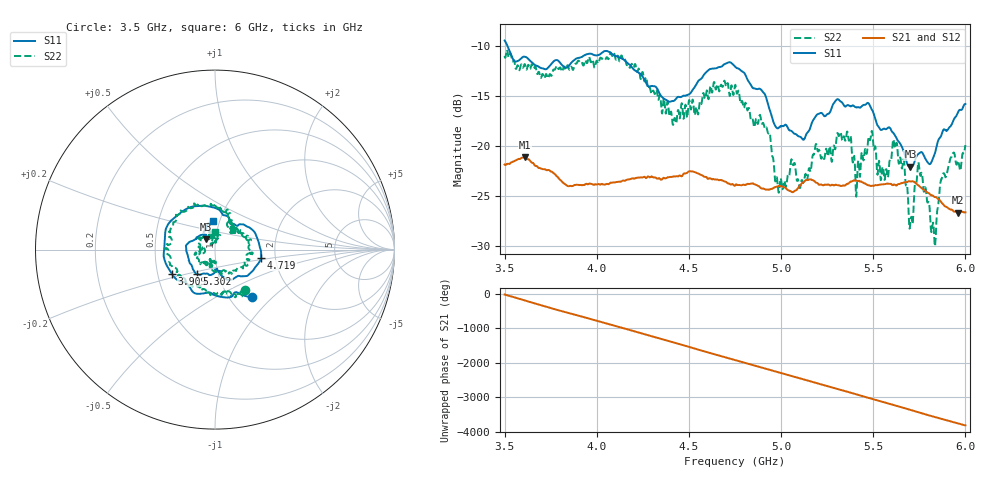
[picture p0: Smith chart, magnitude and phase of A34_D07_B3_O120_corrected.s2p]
! Created with skrf 1.9.0 (http://scikit-rf.org).
# Hz S RI R 50.0
!freq ReS11 ImS11 ReS21 ImS21 ReS12 ImS12 ReS22 ImS22
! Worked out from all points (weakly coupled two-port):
!   1601 points, 3.5 GHz to 6 GHz, reference 50 ohm
!   highest |S21| = -21.17 dB at 3.609 GHz (marker M1); lowest = -26.7 dB at 5.959 GHz (marker M2)
!   lowest |S11| = -22.1 dB at 5.702 GHz (marker M3), VSWR 1.17, Z = 44.7 + j5.26 ohm
!   |S11| at or under -10 dB: 3.515 GHz to end of sweep
!   |S22| runs from -30.0 to -10.4 dB; largest |S21 - S12| = 0.001
!   S11 on the Smith chart (normalised r, x): 3.5 GHz: 1.27, -0.76; 3.909 GHz: 0.59, -0.17; 4.719 GHz: 1.68, -0.16; 5.302 GHz: 0.79, -0.22; 6 GHz: 0.93, +0.31
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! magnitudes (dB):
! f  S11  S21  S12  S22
! 3.5 GHz  -9.5  -21.9  -21.9  -11.0
! 3.609 GHz  -11.1  -21.2  -21.2  -11.9
! 3.909 GHz  -11.2  -23.9  -23.9  -11.6
! 3.917 GHz  -11.2  -24.0  -23.9  -11.6
! 4.334 GHz  -14.5  -23.3  -23.2  -15.4
! 4.422 GHz  -15.5  -23.1  -23.1  -17.2
! 4.719 GHz  -11.7  -23.8  -23.8  -14.8
! 4.75 GHz  -12.1  -24.0  -23.9  -14.0
! 4.93 GHz  -15.9  -24.4  -24.3  -18.8
! 4.98 GHz  -18.3  -24.1  -24.1  -23.5
! 5.167 GHz  -17.7  -23.4  -23.4  -21.6
! 5.302 GHz  -15.4  -23.9  -23.9  -19.1
! 5.416 GHz  -16.1  -23.5  -23.6  -22.0
! 5.484 GHz  -16.1  -24.0  -24.0  -19.4
! 5.584 GHz  -18.2  -23.8  -23.8  -22.4
! 5.62 GHz  -19.0  -23.9  -23.9  -20.2
! 5.702 GHz  -22.1  -23.6  -23.5  -27.6
! 5.753 GHz  -20.7  -24.1  -24.1  -22.8
! 5.828 GHz  -21.1  -25.1  -25.0  -28.2
! 5.875 GHz  -18.7  -25.8  -25.7  -23.1
! 5.959 GHz  -16.7  -26.7  -26.6  -21.6
! 6 GHz  -15.8  -26.7  -26.6  -19.9
